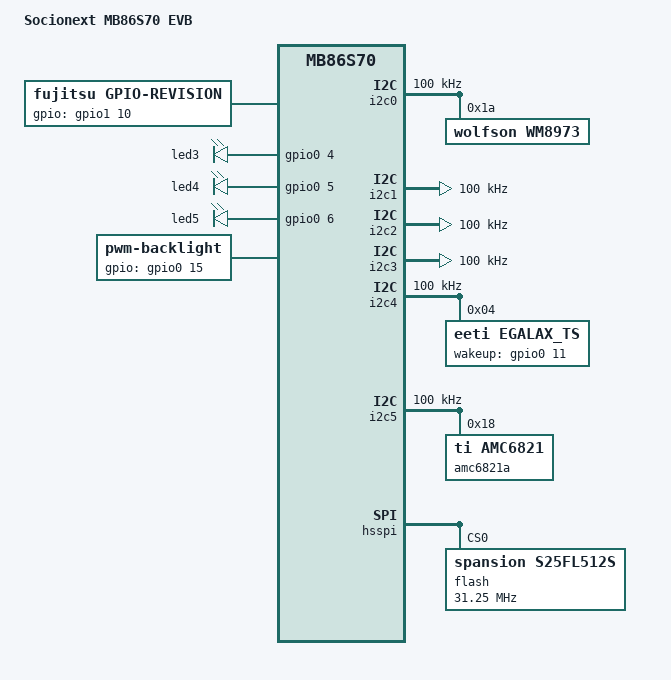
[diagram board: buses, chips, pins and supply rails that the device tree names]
/*
 * Copyright (C) 2013-2015 Linaro, LTD for FUJITSU SEMICONDUCTOR LIMITED
 * Copyright (C) 2015-2016 Socionext Inc.
 *
 * This program is free software; you can redistribute it and/or modify
 * it under the terms of the GNU General Public License version 2 as
 * published by the Free Software Foundation.
 */

/dts-v1/;

#include <dt-bindings/gpio/gpio.h>

#include "mb86s70.dtsi"

/ {
	model = "Socionext MB86S70 EVB";
	compatible = "fujitsu,mb8aa0350eb","fujitsu,mb86s70";

	memory {
		device_type = "memory";
		reg = <0 0x80000000 0x80000000>, <0x08 0x80000000 0x80000000>;

	};

	chosen {
		bootargs = "consoleblank=0 no_console_suspend shm_offset=2048 loglevel=4 console=ttyS0,115200 root=/dev/mmcblk1p2 rootfstype=ext4 rootwait rw pcie_ports=native ";
		linux,initrd-start = <0x88000000>;
		linux,initrd-end =   <0x88800000>;
		/* Backward compatibility for 2016.03-1-1 */
		/* linux,initrd-start = <0xc0000000>; */
		/* linux,initrd-end =   <0xc0800000>; */
	};

	flash@XSC4 {
		status = "disabled";
		compatible = "spansion,s29gl128p", "cfi-flash";
		reg = <0 0x40000000 0x01000000>;
		bank-width = <2>;
		device-width = <2>;
	};

	pmdev@s70_ev_pm {
		compatible = "mb86s70evb,pm_ops";
		interrupts = <0 96 0x4>;
	};

/*
 * GPIO 0
 *
 * PD0  input  POWER_KEY
 * PD1  input  HOME_KEY
 * PD2  out H  LED_D6
 * PD3  out H  LED_D8
 * PD4  input  DEBUG_SW_A
 * PD5  input  DEBUG_SW_B
 * PD6  input  DEBUG_SW_C
 * PD7  input  DEBUG_SW_D
 * PD8  input  LAN_PHY_INTB      EXINT24
 * PD9  input  LAN_PHY_PMEB      EXINT25
 * PD10 input  PCIE_DET_0
 * PD11 input  TP_INT            EXINT27
 * PD12 input  HSSPI_SEL
 * PD13 out L  LAN_PHY_RSTOUT
 * PD14 out L  LAN_PHY_ENABLE
 * PD15 out L  LCM_SDIC_ENABLE
 * PD16 func   CAP_VSYNC
 * PD17 func   CAP_HSYNC
 * PD18 func   CAP_CLK
 * PD19 func   CAP_R7
 * PD20 func   CAP_R6
 * PD21 func   CAP_R5
 * PD22 func   CAP_R4
 * PD23 func   CAP_R3
 * PD24 func   CAP_R2
 * PD25 func   CAP_R1
 * PD26 func   CAP_R0
 * PD27 func   CAP_G7
 * PD28 func   CAP_G6
 * PD29 func   CAP_G5
 * PD30 func   CAP_G4
 * PD31 func   CAP_G3
 */

	gpio0: mb86s70_gpio0 {
		compatible = "fujitsu,mb86s70-gpio";
		reg = <0 0x31000000 0x10000>;
		gpio-controller;
		#gpio-cells = <2>;
		clocks = <&clk_alw_2_1>;
		base = <0>;
	};

/*
 * GPIO 1
 *
 * PD32 func   CAP_G2
 * PD33 func   CAP_G1
 * PD34 func   CAP_G0
 * PD35 func   CAP_B7
 * PD36 func   CAP_B6
 * PD37 func   CAP_B5
 * PD38 func   CAP_B4
 * PD39 func   CAP_B3
 * PD40 func   CAP_B2
 * PD41 func   CAP_B1
 * PD42 func   CAP_B0
 * PD43 func   CAP_DEN
 * PD44 func   CAP_FID
 * PD45 out L  PD45
 * PD46 out L  PD46
 * PD47 out L  PD47
 * PD48 input  BTN_MENU
 * PD49 input  BTN_RETURN
 * PD50 input  BTN_UP
 * PD51 input  BTN_DOWN
 * PD52 out L  PD52
 * PD53 out L  PD53
 * PD54 out L  PD54
 * PD55 out L  PD55
 * PD56 func   SIN1
 * PD57 func   SOUT1
 * PD58 func   XCTS1
 * PD59 func   XRTS1
 * PD60 func   SIN2
 * PD61 func   SOUT2
 * PD62 func   XCTS2
 * PD63 func   XRTS2
 */

	gpio1: mb86s70_gpio1 {
		compatible = "fujitsu,mb86s70-gpio";
		reg = <0 0x31010000 0x10000>;
		gpio-controller;
		#gpio-cells = <2>;
		clocks = <&clk_alw_2_1>;
		base = <32>;
       };

	gpio-revision {
		compatible = "fujitsu,gpio-revision";
		gpios = <&gpio1 10 GPIO_ACTIVE_HIGH>; /* PD42 / EA1 */
	};

	gpio-leds {
		compatible = "gpio-leds";

		d3 {
			label = "led3";
			gpios = <&gpio0 4 GPIO_ACTIVE_HIGH>;
			linux,default-trigger = "default-on";
		};
		d4 {
			label = "led4";
			gpios = <&gpio0 5 GPIO_ACTIVE_HIGH>;
			linux,default-trigger = "mmc1";
		};
		d5 {
			label = "led5";
			gpios = <&gpio0 6 GPIO_ACTIVE_HIGH>;
		};
	};

	gpio-keys {
		status = "disabled"; /* Conflicts with gpio-control-nor */
		compatible = "gpio-keys-polled";
		poll-interval = <20>;

		up {
			label = "Up";
			gpios = <&gpio1 18 GPIO_ACTIVE_HIGH>;
			linux,code = <103>;
			gpio-key;
		};
		down {
			label = "Down";
			gpios = <&gpio1 19 GPIO_ACTIVE_HIGH>;
			linux,code = <108>;
			gpio-key;
		};
		return {
			label = "Return";
			gpios = <&gpio1 17 GPIO_ACTIVE_HIGH>;
			linux,code = <28>;
			gpio-key;
		};
		menu {
			label = "Menu";
			gpios = <&gpio1 16 GPIO_ACTIVE_HIGH>;
			linux,code = <139>;
			gpio-key;
		};
	};

	backlight {
		compatible = "pwm-backlight";
		brightness-levels = <0 255>;
		default-brightness-level = <1>;
		gpios = <&gpio0 15 GPIO_ACTIVE_HIGH>;
	};

	videomodes@0 {
		compatible = "video-modes";
                mode0: mode@0 {
                        mode  = "640x480x32bpp";
                        hactive = <640>;
                        vactive = <480>;
                        hback-porch = <8>;
                        hfront-porch = <24>;
                        hsync-len = <8>;
                        vback-porch = <2>;
                        vfront-porch = <4>;
                        vsync-len = <2>;
			flags = <0x15>; /* h low, v low, de low */
                        clock = <125000>;
                        bpp = <32>;
                        red_offset      = <16>;
                        red_length      = <8>;
                        green_offset    = <8>;
                        green_length    = <8>;
                        blue_offset     = <0>;
                        blue_length     = <8>;
                        alpha_offset    = <0>;
                        alpha_length    = <0>;
                };

		mode1: mode@1 {
			mode  = "768x1280x32bpp";
			hactive = <768>; /* panel actually 800 x 1280 */
			vactive = <1280>;
			hback-porch = <48>;
			hfront-porch = <44>; /* missing 32 px went in here */
			hsync-len = <4>;
			vback-porch = <3>;
			vfront-porch = <5>;
			vsync-len = <1>;
			flags = <0x26>; /* h high, v low, de high */
			clock = <1000000>; /* 1GHz link clock */
			bpp = <32>;
			width-mm = <92>;
			height-mm = <150>;
			/* scanout-rotation = <270>; */
			red_offset      = <16>;
			red_length      = <8>;
			green_offset    = <8>;
			green_length    = <8>;
			blue_offset     = <0>;
			blue_length     = <8>;
			alpha_offset    = <0>;
			alpha_length    = <0>;
		};
                mode2: mode@2 {
                        mode  = "768x1280x16bpp";
                        hactive = <768>; /* panel actually 800 x 1280 */
                        vactive = <1280>;
                        hback-porch = <48>;
                        hfront-porch = <44>; /* missing 32 px went in here */
                        hsync-len = <4>;
                        vback-porch = <3>;
                        vfront-porch = <5>;
                        vsync-len = <1>;
                        flags = <0x26>; /* h high, v low, de high */
                        clock = <1000000>; /* 1GHz link clock */
                        bpp = <16>;
                        width-mm = <92>;
                        height-mm = <150>;
                        /* scanout-rotation = <270>; */
                        red_offset      = <11>;
                        red_length      = <5>;
                        green_offset    = <5>;
                        green_length    = <6>;
                        blue_offset     = <0>;
                        blue_length     = <5>;
                        alpha_offset    = <0>;
                        alpha_length    = <0>;
                };
	};

	i2c0 {
		compatible = "fujitsu,f_i2c";
		reg = <0 0x31200000 0x10000>;
		interrupts = <0 312 0x4>;
		#address-cells = <1>;
		#size-cells = <0>;
		clock-frequency = <100000>;
		clocks = <&clk_alw_2_8>;

		wm8973: wm8973@1a {
                        compatible = "wolfson,wm8973";
                        reg = <0x1a>;
                };
	};

	i2c1 {
		compatible = "fujitsu,f_i2c";
		reg = <0 0x31210000 0x10000>;
		interrupts = <0 313 0x4>;
		#address-cells = <1>;
		#size-cells = <0>;
		clocks = <&clk_alw_2_8>;
		clock-frequency = <100000>;

	};

	i2c2 {
		compatible = "fujitsu,f_i2c";
		reg = <0 0x31220000 0x10000>;
		interrupts = <0 314 0x4>;
		#address-cells = <1>;
		#size-cells = <0>;
		clocks = <&clk_alw_2_8>;
		clock-frequency = <100000>;
	};

	i2c3 {
		compatible = "fujitsu,f_i2c";
		reg = <0 0x31230000 0x10000>;
		interrupts = <0 315 0x4>;
		#address-cells = <1>;
		#size-cells = <0>;
		clocks = <&clk_alw_2_8>;
		clock-frequency = <100000>;
	};

	i2c4 {
		compatible = "fujitsu,f_i2c";
		reg = <0 0x31240000 0x10000>;
		interrupts = <0 316 0x4>;
		#address-cells = <1>;
		#size-cells = <0>;
		clocks = <&clk_alw_2_8>;
		clock-frequency = <100000>;

               egalax_ts: egalax_ts@4 {
			compatible = "eeti,egalax_ts";
			reg = <0x4>;
			interrupts = <0 107 0x4>; /* EXTINT27 */
			wakeup-gpios = <&gpio0 11 0>; /* same pin as EXTINT27 */
               };
	};

	i2c5 {
		compatible = "fujitsu,f_i2c";
		reg = <0 0x31250000 0x10000>;
		interrupts = <0 317 0x4>;
		#address-cells = <1>;
		#size-cells = <0>;
		clocks = <&clk_alw_2_8>;
		clock-frequency = <100000>;

		/* default to fan always on high, even during suspend */
		amc6821: amc6821@18 {
			//status = "ok";
			status = "disabled";
                        compatible = "ti,amc6821";
                        reg = <0x18>;
			low_temp = <0x10>; // unreasonably low target temp == fan always on high
			pwminv = <1>;      //  1, inverted PWM output
			fan_char = <0x25>;
                };
		/* alternative fan profile: fan responds to temperature + off in suspend */
		amc6821a: amc6821a@18 {
			//status = "disabled";
                        compatible = "ti,amc6821";
                        reg = <0x18>;
			low_temp = <0x41>; // 32 degrees C
			pwminv = <1>;      //  1, inverted PWM output
			fan_char = <0x25>;
			off-in-suspend; // stop fan during suspend
                };
	};

	hsspi: hsspi.0 {
		compatible = "fujitsu,mb86s7x-hsspi";
		reg = <0 0x30010000 0x1000>,
		      <0 0x48000000 0x1000000>;
		interrupts = <0 361 0x4>,
			     <0 360 0x4>,
			     <0 362 0x4>;
		mode = <1>; // HS_SPI_DIRECT_MODE
		read_operation = <1>; // HS_SPI_NORMAL_READ
		write_operation = <5>; // HS_SPI_NORMAL_WRITE
		bank_size = <0x01000000>;	// 16MB flash bank
		num_chipselect = <1>;
		addr_width = <3>;
		dma_rx_dreq = <0x800000>; // XDDES_TF_DREQ6 !!! GUESSED
		dma_tx_dreq = <0x900000>; // XDDES_TF_DREQ7 !!! GUESSED
		dma_channel = <0>;
		sync_on = <1>;
		clock = <0>; // HS_SPI_HCLK
		clocks = <&clk_alw_1_0>, <&clk_alw_2_1>;
		clock-names = "iHCLK", "iPCLK";
		#address-cells = <1>;
	        #size-cells = <0>;

		flash@0 {
			compatible = "spansion,s25fl512s";
			spi-max-frequency = <31250000>;
			spi-rx-bus-width = <4>;
			spi-tx-bus-width = <1>;
			spi-cpha;
			spi-cpol;
			reg = <0>;
			#address-cells = <1>;
			#size-cells = <1>;

			spipart0@0 {
				label = "scb-spi-firmware";
				reg = <0 0x200000>;
			};
			spipart1@1 {
				label = "spi-romfs";
				reg = <0x200000 0xe00000>;
			};
		};
	};

	gpio-flash@xcs4-gpio {
		status = "disabled";
		compatible = "gpio-control-nor";
		#address-cells = <1>;
		#size-cells = <1>;
		bank-width = <2>;
		device-width = <2>;
		/*pinctrl-names = "default";*/
		/*pinctrl-0 = <&gpio_nor>;*/

		gpios = <&gpio1 8 0>,	/* rdy 40 */
			 <&gpio0 19 0>, 	/* nce */
			 <&gpio0 20 0>, 	/* noe */
			 <&gpio0 23 0>, 	/* nwe */

			/* 16 data */

			<&gpio0 24 0>,
			<&gpio0 25 0>,
			<&gpio0 26 0>,
			<&gpio0 27 0>,
			<&gpio0 28 0>,
			<&gpio0 29 0>,
			<&gpio0 30 0>,
			<&gpio0 31 0>,
			<&gpio1 0 0>,
			<&gpio1 1 0>,
			<&gpio1 2 0>,
			<&gpio1 3 0>,
			<&gpio1 4 0>,
			<&gpio1 5 0>,
			<&gpio1 6 0>,
			<&gpio1 7 0>,

			/* as many address as we have (22) */

			<&gpio1 10 0>,
			<&gpio1 11 0>,
			<&gpio1 12 0>,
			<&gpio1 13 0>,
			<&gpio1 14 0>,
			<&gpio1 15 0>,
			<&gpio1 16 0>,
			<&gpio1 17 0>,
			<&gpio1 18 0>,
			<&gpio1 19 0>,
			<&gpio1 20 0>,
			<&gpio1 21 0>,
			<&gpio1 22 0>,
			<&gpio1 23 0>,
			<&gpio1 24 0>,
			<&gpio1 25 0>,
			<&gpio1 26 0>,
			<&gpio1 27 0>,
			<&gpio1 28 0>,
			<&gpio1 29 0>,
			<&gpio1 30 0>,
			<&gpio1 31 0>;

		firmware@0 { /* 2MByte firmware region */
			label = "scb-memcs-firmware";
			reg = <0 0x200000>;
		};

		romfs@200000 { /* only 8MByte is addressable by gpio */
			label = "memcs-romfs";
			reg = <0x200000 0x600000>;
		};
		
	};

	scb-flash@scb-mtd {
		status = "disabled";
		compatible = "mb86s7x-scb-mtd";
		#address-cells = <1>;
		#size-cells = <1>;

		/*
		 * first erase block (256KByte) reserved for
		 * U-Boot environment and not used in Linux
		 *
		 * total size assumed 1.25MByte
		 */

		identity@0 { /* 1MByte identity ROMFS area starting +1 eb */
			label = "identity";
			reg = <0x40000 0x140000>;
		};
	};

};

&videophy0 {
	dsi_lanes = /bits/ 8 <4>; /* "real" number of lanes(PHY_IF_CFG.num_lanes + 1) */
	virtual_channel = /bits/ 8 <0>;

	txesc_clock_division = /bits/ 8 <4>;
	to_clock_division = /bits/ 8 <1>;

	/* DPI_CFG */
	dpi_color_coding = /bits/ 8 <7>;
	shutd_act_low = /bits/ 8 <1>;
	colorm_act_low = /bits/ 8 <0>;
	en18_loosely = /bits/ 8 <0>;

	/* VID_MODE_CFG */
	vid_mode_type = /bits/ 8 <1>;
	en_lp_vsa = /bits/ 8 <1>;
	en_lp_vbp = /bits/ 8 <1>;
	en_lp_vfp = /bits/ 8 <0>;
	en_lp_vact = /bits/ 8 <1>;
	en_lp_hbp = /bits/ 8 <0>;
	en_lp_hfp = /bits/ 8 <1>;
	en_multi_pkt = /bits/ 8 <1>;
	en_null_pkt = /bits/ 8 <1>;
	lpcmden = /bits/ 8 <0>;

	/* VID_PKT_CFG */
	vid_pkt_size = /bits/ 16 <32>;
	num_chunks = /bits/ 16 <25>;
	null_pkt_size = /bits/ 16 <9>;

	/* TMR_LINE_CFG */
	hsa_time = /bits/ 16 <4>;
	hbp_time = /bits/ 16 <48>;
	hline_time = /bits/ 16 <896>;

	/* VTIMING_CFG */
	/* calculated with display_timing */
	/* vsa_lines /bits/ 8 */
	/* vbp_lines /bits/ 8 */
	/* vfp_lines /bits/ 8 */
	v_active_lines = /bits/ 16 <1289>;

	/* PHY_TMR_CFG */
	phy_lp2hstime = /bits/ 8 <19>;
	phy_hs2lptime = /bits/ 8 <9>;

	/* TO_CNT_CFG */
	hstx_to_cnt = /bits/ 16 <0>;

	/* PHY_IF_CFG */
	phy_stop_wait_time = /bits/ 8 <2>;

	/* PHY_IF_CTRL */
	phy_txrequestclkhs = /bits/ 8 <1>;

	/* LP_CMD_TIM */
	invact_lpcmd_time = /bits/ 8 <0>;
	outvact_lpcmd_time = /bits/ 8 <10>;

	/* PHY_SETUP_CL */
	sap_tlpx_c = /bits/ 8 <5>;
	sap_hs0_c = /bits/ 8 <21>;
	sap_trail_c = /bits/ 8 <6>;
	sap_pre_c = /bits/ 8 <5>;

	/* PHY_SETUP_DL */
	sap_tlpx_d = /bits/ 8 <4>;
	sap_hs0_d = /bits/ 8 <10>;
	sap_trail_d = /bits/ 8 <5>;
	sap_pre_d = /bits/ 8 <5>;
};

